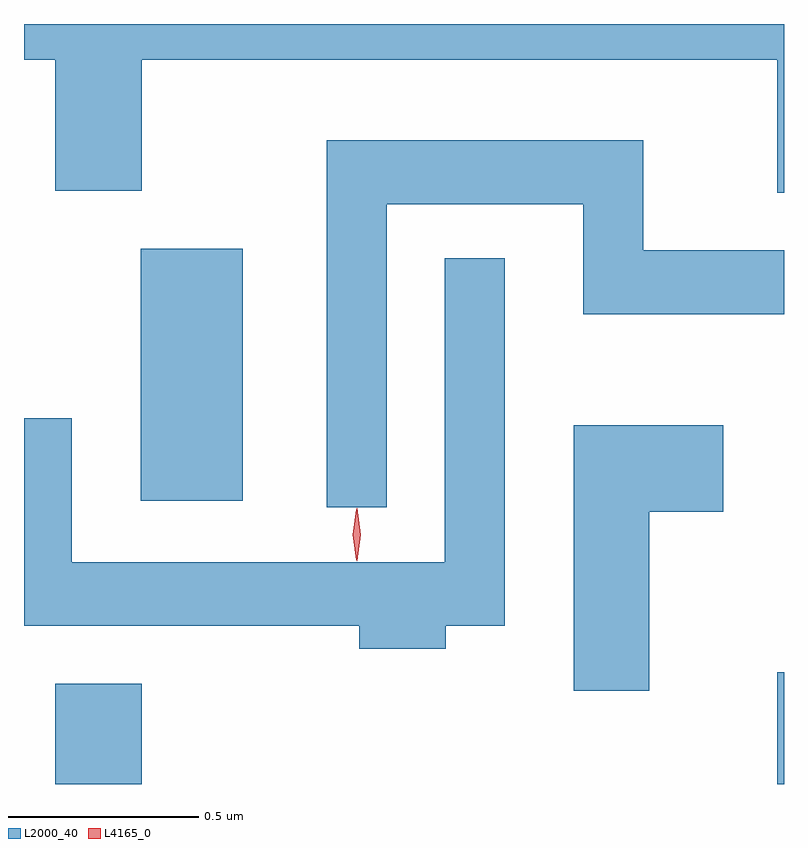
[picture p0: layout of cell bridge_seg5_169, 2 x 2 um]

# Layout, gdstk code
import gdstk
lib = gdstk.Library(unit=1e-6, precision=1e-09)
def R(c, l, rs):  # rectangles x0, y0, x1, y1
    for r in rs: c.add(gdstk.rectangle(r[:2], r[2:], *l))
def P(c, l, *ps):  # polygons
    for p in ps: c.add(gdstk.Polygon(p, *l))
L2000_40 = (2000, 40)
L4165_0 = (4165, 0)

bridge_seg5_169 = lib.new_cell('bridge_seg5_169')
R(bridge_seg5_169, L2000_40, [(1183.331,1423.81,1183.559,1424.074), (1185.231,1423.81,1185.249,1424.104), (1183.556,1424.556,1183.824,1425.219)])
P(bridge_seg5_169, L2000_40, [(1185.249,1425.81),(1183.249,1425.81),(1183.249,1425.716),(1183.331,1425.716),(1183.331,1425.371),(1183.559,1425.371),(1183.559,1425.716),(1185.231,1425.716),(1185.231,1425.366),(1185.249,1425.366)],
  [(1184.204,1425.336),(1184.721,1425.336),(1184.721,1425.046),(1185.249,1425.046),(1185.249,1425.214),(1184.879,1425.214),(1184.879,1425.504),(1184.046,1425.504),(1184.046,1424.538),(1184.204,1424.538)],
  [(1184.359,1424.226),(1184.514,1424.226),(1184.514,1425.193),(1184.356,1425.193),(1184.356,1424.394),(1183.374,1424.394),(1183.374,1424.773),(1183.249,1424.773),(1183.249,1424.226),(1184.131,1424.226),(1184.131,1424.166),(1184.359,1424.166)],
  [(1184.894,1424.526),(1185.089,1424.526),(1185.089,1424.754),(1184.696,1424.754),(1184.696,1424.056),(1184.894,1424.056)])
P(bridge_seg5_169, L4165_0, [(1184.124,1424.399),(1184.123,1424.4),(1184.114,1424.466),(1184.123,1424.532),(1184.124,1424.533),(1184.124,1424.532),(1184.134,1424.466),(1184.124,1424.4)],
  [(1184.124,1424.397),(1184.115,1424.466),(1184.124,1424.536),(1184.125,1424.536),(1184.126,1424.536),(1184.135,1424.466),(1184.126,1424.397),(1184.125,1424.397)])

lib.write_gds('bridge_seg5_169.gds')
